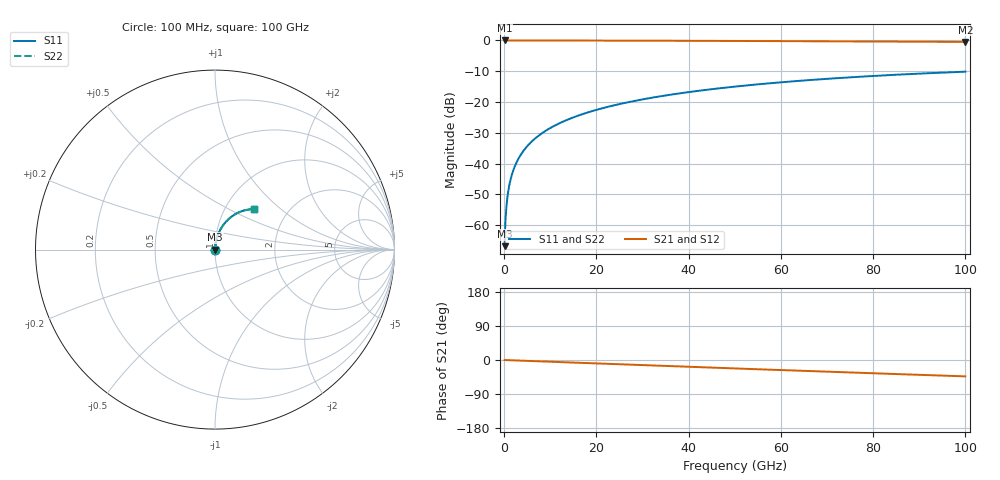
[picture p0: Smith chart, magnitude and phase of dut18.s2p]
! Touchstone file exported from HFSS 2026.1.0
!  File:  C:/ffzhzh/LocalFiles/Ansys_Project_Files/temp_train_TSV_18_1783504369_41296.aedt
!  Generated:  05:54:17 PM Jul  8, 2026
!  Design:  TSV
!  Project:  temp_train_TSV_18_1783504369_41296
! Variables:
!  h_bsmrdl = 2um
!  h_ox = 20um
!  h_rdl = 5um
!  h_sub = 72.76um
!  h_tmrdl = 5um
!  h_tsv = 72.76um
!  h_via = 3um
!  l_bsmrdl = 300um
!  l_sub = 414.4um
!  l_tmrdl = 200um
!  m_sub = 200um
!  pitch = 59.18um
!  r_tsv = 7.2um
!  s_tmrdl = 10um
!  w_bsmrdl = 18um
!  w_sub = 500um
!  w_tmrdl = 12um
!  x_tsv_center1 = 206um
!  x_tsv_center2 = 524um
!  x_tsv_center3 = 736um
!  x_tsv_center4 = 1054um
!  x_tsv_center5 = 1266um
!  x_tsv_center6 = 1584um
# GHz S MA R 50.000000
! Terminal data exported
! Port[1] = TSV1_1_T1
! Port[2] = TSV1_1_T2
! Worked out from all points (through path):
!   1000 points, 100 MHz to 100 GHz, reference 50 ohm
!   highest |S21| = 0.00 dB at 100 MHz (marker M1); lowest = -0.5 dB at 100 GHz (marker M2)
!   group delay of S21, straight-line fit = 1.2 ps
!   lowest |S11| = -66.8 dB at 100 MHz (marker M3), VSWR 1.00, Z = 50 + j0.0414 ohm
!   |S11| at or under -10 dB: start of sweep to end of sweep
!   |S22| runs from -66.8 to -10.1 dB; largest |S21 - S12| = 2.7e-15
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0.1  0.0004571 64.9  0.9998 -0.0  0.9998 -0.0  0.0004571 64.9
! Gamma 0 0 0 0
! Port Impedance 50 0 50 0
0.3  0.001247 79.7  0.9998 -0.1  0.9998 -0.1  0.001247 79.7
0.7  0.002822 84.1  0.9997 -0.3  0.9997 -0.3  0.002822 84.1
0.8  0.003213 84.5  0.9997 -0.4  0.9997 -0.4  0.003213 84.5
1  0.003994 85.1  0.9997 -0.5  0.9997 -0.5  0.003994 85.1
1.3  0.00516 85.5  0.9996 -0.6  0.9996 -0.6  0.00516 85.5
1.7  0.006705 85.8  0.9996 -0.8  0.9996 -0.8  0.006705 85.8
2.3  0.009003 85.9  0.9995 -1.1  0.9995 -1.1  0.009003 85.9
2.9  0.01128 85.9  0.9994 -1.3  0.9994 -1.3  0.01128 85.9
3.7  0.0143 85.8  0.9993 -1.7  0.9993 -1.7  0.0143 85.8
4.7  0.01806 85.6  0.9991 -2.1  0.9991 -2.1  0.01806 85.6
5.8  0.02218 85.3  0.999 -2.6  0.999 -2.6  0.02218 85.3
8.7  0.03302 84.4  0.9985 -4.0  0.9985 -4.0  0.03302 84.4
12.3  0.04639 83.0  0.9978 -5.6  0.9978 -5.6  0.04639 83.0
16.8  0.06295 81.2  0.9967 -7.6  0.9967 -7.6  0.06295 81.2
24.2  0.08982 78.1  0.9944 -10.9  0.9944 -10.9  0.08982 78.1
33.4  0.1224 74.2  0.9906 -15.0  0.9906 -15.0  0.1224 74.1
41.2  0.1491 70.8  0.9868 -18.4  0.9868 -18.4  0.1491 70.8
50.1  0.1784 67.0  0.9817 -22.3  0.9817 -22.3  0.1784 67.0
66.7  0.2289 60.0  0.9709 -29.4  0.9709 -29.4  0.2289 60.0
83.4  0.2736 53.1  0.9591 -36.4  0.9591 -36.4  0.2736 53.0
100  0.3112 46.4  0.9473 -43.2  0.9473 -43.2  0.3112 46.3
